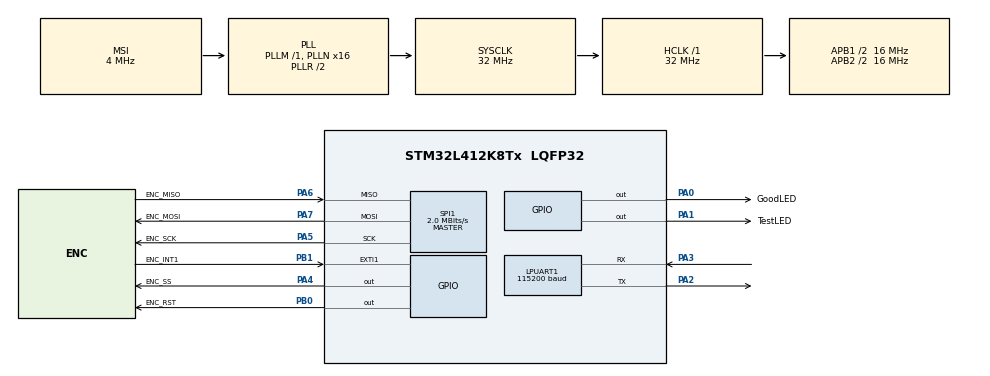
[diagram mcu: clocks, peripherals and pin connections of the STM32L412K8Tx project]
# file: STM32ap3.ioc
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LPUART1.BaudRate=115200
LPUART1.WordLength=UART_WORDLENGTH_8B
Mcu.Family=STM32L4
Mcu.Name=STM32L412K8Tx
Mcu.Package=LQFP32
NVIC.EXTI1_IRQn=true\:4\:0\:true\:false\:true\:true\:true
NVIC.LPUART1_IRQn=true\:13\:0\:true\:false\:true\:true\:true
NVIC.PriorityGroup=NVIC_PRIORITYGROUP_4
NVIC.TIM2_IRQn=true\:0\:0\:true\:false\:true\:true\:true
NVIC.TIM6_IRQn=true\:0\:0\:true\:false\:true\:true\:true
PA0-CK_IN.GPIO_Label=GoodLED
PA0-CK_IN.GPIO_Speed=GPIO_SPEED_FREQ_MEDIUM
PA0-CK_IN.Signal=GPIO_Output
PA1.GPIO_Label=TestLED
PA1.GPIO_Speed=GPIO_SPEED_FREQ_MEDIUM
PA1.Signal=GPIO_Output
PA13\ (JTMS/SWDIO).Mode=Serial_Wire
PA13\ (JTMS/SWDIO).Signal=SYS_JTMS-SWDIO
PA14\ (JTCK/SWCLK).Mode=Serial_Wire
PA14\ (JTCK/SWCLK).Signal=SYS_JTCK-SWCLK
PA2.Mode=Asynchronous
PA2.Signal=LPUART1_TX
PA3.Mode=Asynchronous
PA3.Signal=LPUART1_RX
PA4.GPIO_Label=ENC_SS
PA4.GPIO_Speed=GPIO_SPEED_FREQ_MEDIUM
PA4.Signal=GPIO_Output
PA5.GPIO_Label=ENC_SCK
PA5.Mode=Full_Duplex_Master
PA5.Signal=SPI1_SCK
PA6.GPIO_Label=ENC_MISO
PA6.Mode=Full_Duplex_Master
PA6.Signal=SPI1_MISO
PA7.GPIO_Label=ENC_MOSI
PA7.Mode=Full_Duplex_Master
PA7.Signal=SPI1_MOSI
PB0.GPIO_Label=ENC_RST
PB0.GPIO_PuPd=GPIO_PULLUP
PB0.GPIO_Speed=GPIO_SPEED_FREQ_MEDIUM
PB0.Signal=GPIO_Output
PB1.GPIO_Label=ENC_INT1
PB1.Signal=GPXTI1
ProjectManager.HeapSize=0x200
ProjectManager.StackSize=0x400
ProjectManager.TargetToolchain=Makefile
RCC.ADCFreq_Value=32000000
RCC.AHBFreq_Value=32000000
RCC.APB1CLKDivider=RCC_HCLK_DIV2
RCC.APB1Freq_Value=16000000
RCC.APB1TimFreq_Value=32000000
RCC.APB2CLKDivider=RCC_HCLK_DIV2
RCC.APB2Freq_Value=16000000
RCC.APB2TimFreq_Value=32000000
RCC.CortexFreq_Value=32000000
RCC.HCLKFreq_Value=32000000
RCC.HSE_VALUE=8000000
RCC.HSI48_VALUE=48000000
RCC.HSI_VALUE=16000000
RCC.LSE_VALUE=32768
RCC.MSI_VALUE=4000000
RCC.PLLN=16
RCC.SYSCLKFreq_VALUE=32000000
RCC.SYSCLKSource=RCC_SYSCLKSOURCE_PLLCLK
RCC.USBFreq_Value=4000000
RCC.VCOOutputFreq_Value=64000000
SPI1.BaudRatePrescaler=SPI_BAUDRATEPRESCALER_8
SPI1.CalculateBaudRate=2.0 MBits/s
SPI1.DataSize=SPI_DATASIZE_8BIT
SPI1.Direction=SPI_DIRECTION_2LINES
SPI1.Mode=SPI_MODE_MASTER
SPI1.NSSPMode=SPI_NSS_PULSE_DISABLE
SPI1.VirtualType=VM_MASTER
TIM2.ClockDivision=TIM_CLOCKDIVISION_DIV4
TIM2.Period=1000-1
TIM2.Prescaler=8000-1
TIM6.Period=100-1
TIM6.Prescaler=320-1
VP_TIM2_VS_ClockSourceINT.Mode=Internal
VP_TIM6_VS_ClockSourceINT.Mode=Enable_Timer
board=custom

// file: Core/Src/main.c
/* USER CODE BEGIN Header */
/**
  ******************************************************************************
  * @file           : main.c
  * @brief          : Main program body
  ******************************************************************************
  * @attention
  *
  * <h2><center>&copy; Copyright (c) 2021 STMicroelectronics.
  * All rights reserved.</center></h2>
  *
  * This software component is licensed by ST under BSD 3-Clause license,
  * the "License"; You may not use this file except in compliance with the
  * License. You may obtain a copy of the License at:
  *                        opensource.org/licenses/BSD-3-Clause
  *
  ******************************************************************************
  */
/* USER CODE END Header */
#include "main.h"

#include "Internet.h"

UART_HandleTypeDef hlpuart1;

SPI_HandleTypeDef hspi1;

TIM_HandleTypeDef htim2;
TIM_HandleTypeDef htim6;

void SystemClock_Config(void);
static void MX_GPIO_Init(void);
static void MX_LPUART1_UART_Init(void);
static void MX_SPI1_Init(void);
static void MX_TIM2_Init(void);
static void MX_TIM6_Init(void);
/* USER CODE BEGIN PFP */
void EC_Init();
/* USER CODE END PFP */

/* USER CODE BEGIN 0 */

int mode = 0;
uint32_t iter_per_us = 0;
void up_udelay(uint32_t us)
{
    up_delayTick(us*iter_per_us);
}
void up_100ndelay(uint32_t us)
{
    up_delayTick(us*iter_per_us/10);
}
void up_delayTick(uint32_t tick)
{
    volatile uint32_t i;

    for (i=0; i<tick; i++) {
    }
}
static void calibrate(void)
{
    uint32_t time;
    volatile uint32_t i;

    iter_per_us = 1000000;

    time = HAL_GetTick();
    /* Wait for next tick */
    while (HAL_GetTick() == time) {
        /* wait */
    }
    for (i=0; i<iter_per_us; i++) {
    }
    iter_per_us /= ((HAL_GetTick()-time)*1000);
}

DWORD eth_dhcp_1sec_renewal_timer;
DWORD eth_dhcp_1sec_lease_timer;
WORD eth_dhcp_1ms_timer;
DWORD ethernet_10ms_clock_timer;
DWORD ethernet_10ms_clock_timer_working;
DWORD tcp_client_socket_timeout_timer;
BOOL isOnline = FALSE;

BYTE eth_dhcp_using_manual_settings;
BYTE *eth_dhcp_our_name_pointer;

int count10 = 0;

void HAL_TIM_PeriodElapsedCallback(TIM_HandleTypeDef *htim)
{
  if(htim->Instance == TIM6) //1kHz Timer
  {
		//printf("2(%d,%d)\n",eth_dhcp_1ms_timer,ethernet_10ms_clock_timer_working);
    //----- NIC DHCP TIMER -----
    if (eth_dhcp_1ms_timer)
      eth_dhcp_1ms_timer--;

    //-----------------------------
    //----- HERE EVERY 10 mSec -----
    //-----------------------------

    //----- ETHERNET GENERAL TIMER -----
    count10++;
    if(count10==10)
    {
		  //printf("6(%d)\n",ethernet_10ms_clock_timer_working);
      ethernet_10ms_clock_timer_working++;
      count10=0;
    }

  }
  if (htim->Instance == TIM2) // 1Hz Timer
  {
		//printf("2(%d,%d)\n",eth_dhcp_1sec_renewal_timer,eth_dhcp_1sec_lease_timer);
    //-------------------------------
    //----- HERE EVERY 1 Second -----
    //-------------------------------

    //----- NIC DHCP TIMERS -----
    if (eth_dhcp_1sec_renewal_timer)
      eth_dhcp_1sec_renewal_timer--;
    if (eth_dhcp_1sec_lease_timer)
      eth_dhcp_1sec_lease_timer--;
    if(tcp_client_socket_timeout_timer)
      tcp_client_socket_timeout_timer--;

    checkConnectivity(TRUE);

  }
}

int _write(int file, char* p, int len)
{
    HAL_UART_Transmit(&hlpuart1,(uint8_t*)p,len,1000);
    return len;
}
void yield()
{
  tcp_ip_process_stack();
  HAL_Delay(1);
}
BYTE UDP_Open(IP_ADDR AddrToOpen,WORD port_local,WORD port_remote);
int UDP_Send(DEVICE_INFO *device_info);
int UDP_WaitReq(BYTE Socket,int timeout);
int UDP_SendData(BYTE Socket,uint8_t* data,int length);

BYTE TCP_Disconnect(BYTE Socket, int timeout);
BYTE TCP_Get_Data(BYTE Socket,uint8_t* data,int buflen);
BYTE TCP_Get_RemainingDataSize(BYTE Socket);
//ret 0:succeed 1:timeout 2:disconnected 3:retries expired
BYTE TCP_Get_Wait(BYTE Socket,int timeout);
BYTE TCP_SendByte(BYTE Socket, uint8_t* data, int len);
BYTE TCP_Connect(IP_ADDR ip,int port,int timeout);

IP_ADDR IPSet(uint8_t d1,uint8_t d2,uint8_t d3,uint8_t d4);
MAC_ADDR MACSet(uint8_t d1,uint8_t d2,uint8_t d3,uint8_t d4,uint8_t d5,uint8_t d6);

//if error, it returns 0.0.0.0
IP_ADDR DNS_Get(char* domain, int timeout);
void checkConnectivity(BOOL print);

BYTE SendARP(IP_ADDR ip);
//mode 0 : Waiting
//mode 10 : Request HTTP Client (Echo)
//mode 11 : waiting for HTTP Get Request
//mode 12 : Processing of HTTP Get Protocol
/* USER CODE END 0 */

int main(void)
{

  /* MCU Configuration--------------------------------------------------------*/

  /* Reset of all peripherals, Initializes the Flash interface and the Systick. */
  HAL_Init();

  /* Configure the system clock */
  SystemClock_Config();

  /* USER CODE BEGIN SysInit */
  calibrate();
  /* USER CODE END SysInit */

  /* Initialize all configured peripherals */
  MX_GPIO_Init();
  MX_LPUART1_UART_Init();
  MX_SPI1_Init();
  MX_TIM2_Init();
  MX_TIM6_Init();
  /* USER CODE BEGIN 2 */
  setvbuf(stdout,NULL,_IONBF,0);
  HAL_TIM_Base_Start_IT(&htim6);
  HAL_TIM_Base_Start_IT(&htim2);
  printf("start..\n");

  EC_Init();

  printf("connecting line...\n");

  uint32_t start = HAL_GetTick();
  while((HAL_GetTick()-start < 1000) && !(nic_is_linked && nic_linked_and_ip_address_valid))
    tcp_ip_process_stack();

  checkConnectivity(TRUE);

  // static BYTE our_tcp_client_socket = TCP_INVALID_SOCKET;
	// static WORD our_tcp_client_local_port;
	// static DEVICE_INFO remote_device_info;
	// static BYTE eth_http_client_10ms_clock_timer_last;
	// static DWORD http_client_content_length;
	// static DWORD http_client_content_received;
	// static BYTE header_started;
	// static BYTE header_ended;
	// static BYTE data_buffer[4];
	// static BYTE content_length_match_char;

  enum {
    SM_OPEN_SOCKET = 0,
    SM_WAIT_FOR_CONNECTION,
    SM_TX_PACKET,
    SM_WAIT_FOR_RESPONSE,
    SM_REQUEST_DISCONNECT,
    SM_WAIT_FOR_DISCONNECT,
    SM_COMMS_COMPLETE,
    SM_COMMS_FAILED
  };

  static BYTE our_tcp_client_socket = TCP_INVALID_SOCKET;
  static WORD our_tcp_client_local_port;
  static BYTE our_tcp_client_state = SM_OPEN_SOCKET;
  static DEVICE_INFO remote_device_info;
  BYTE data;
  BYTE array_buffer[4];

  printf("TCP start!");
  if (!nic_linked_and_ip_address_valid)
  {
    //----- WE ARE NOT CONNECTED OR DO NOT YET HAVE AN IP ADDRESS -----
    our_tcp_client_state = SM_OPEN_SOCKET;
    //Ensure our socket is closed if we have just lost the Ethernet connection
    tcp_close_socket(our_tcp_client_socket);
    printf("TCP: ethernet error!\n");
    return; //Exit as we can't do anything without a connection
  }
  if (our_tcp_client_socket != TCP_INVALID_SOCKET)
  {
    //----- CHECK OUR CLIENT SOCKET HASN'T DISCONNECTED -----
    if ((tcp_socket[our_tcp_client_socket].sm_socket_state == SM_TCP_CLOSED)
    || (tcp_socket[our_tcp_client_socket].local_port != our_tcp_client_local_port))
      //If the local port has changed then our socket was closed and taken by some other application process since we we're last called
      our_tcp_client_socket = TCP_INVALID_SOCKET;
    if (our_tcp_client_state == SM_WAIT_FOR_DISCONNECT)
      our_tcp_client_state = SM_OPEN_SOCKET;
    else if (our_tcp_client_state != SM_OPEN_SOCKET)
      our_tcp_client_state = SM_COMMS_FAILED;
  }

  /* USER CODE END 2 */

  /* Infinite loop */
  /* USER CODE BEGIN WHILE */
  while (1)
  {
    switch (our_tcp_client_state)
    {
    case SM_OPEN_SOCKET:
      printf("TCP: SOCKET Open\n");
      //----- OPEN SOCKET -----
      remote_device_info.ip_address = DNS_Get("www.eduwon.net",2000);
      // remote_device_info.ip_address.v[0] = 192;		//The IP address of the remote device we want to connect to (change as required)
      // remote_device_info.ip_address.v[1] = 168;
      // remote_device_info.ip_address.v[2] = 0;
      // remote_device_info.ip_address.v[3] = 20;
      remote_device_info.mac_address.v[0] = 0;			//Set to zero so TCP driver will automatically use ARP to find MAC address
      remote_device_info.mac_address.v[1] = 0;
      remote_device_info.mac_address.v[2] = 0;
      remote_device_info.mac_address.v[3] = 0;
      remote_device_info.mac_address.v[4] = 0;
      remote_device_info.mac_address.v[5] = 0;

      if (our_tcp_client_socket != TCP_INVALID_SOCKET)			//We shouldn't have a socket currently, but make sure
        tcp_close_socket(our_tcp_client_socket);

      our_tcp_client_socket = tcp_connect_socket(&remote_device_info, 8807);		//Connect to remote device port 4102 (the port it is listening on - change as required)
      if (our_tcp_client_socket != TCP_INVALID_SOCKET)
      {
        our_tcp_client_local_port = tcp_socket[our_tcp_client_socket].local_port;

        tcp_client_socket_timeout_timer = 20;			//Set our wait for connection timeout
        our_tcp_client_state = SM_WAIT_FOR_CONNECTION;
        printf("TCP: Trying to connect to 192.168.0.20...\n");
        break;
      }
      //Could not open a socket - none currently available - keep trying

      break;

    case SM_WAIT_FOR_CONNECTION:
      //----- WAIT FOR SOCKET TO CONNECT -----
      if (tcp_is_socket_connected(our_tcp_client_socket)){
        printf("TCP: Connected!\n");
        our_tcp_client_state = SM_TX_PACKET;
      }

      if (tcp_client_socket_timeout_timer == 0)
      {
        printf("TCP: Connecting timeout.\n");
        //CONNECTION REQUEST FAILED
        our_tcp_client_state = SM_COMMS_FAILED;
      }

      break;

    case SM_TX_PACKET:
      //----- TX PACKET TO REMOTE DEVICE -----
      if (!tcp_setup_socket_tx(our_tcp_client_socket))
      {
        printf("TCP: we can't send TX packet.\n");
        //Can't tx right now - try again next time
        break;
      }

      //WRITE THE TCP DATA
      // tcp_write_next_byte('H');
      // tcp_write_next_byte('e');
      // tcp_write_next_byte('l');
      // tcp_write_next_byte('l');
      // tcp_write_next_byte('o');
      // tcp_write_next_byte(' ');
      // tcp_write_next_byte('W');
      // tcp_write_next_byte('o');
      // tcp_write_next_byte('r');
      // tcp_write_next_byte('l');
      // tcp_write_next_byte('d');
      // tcp_write_next_byte(0x00);

      tcp_write_array("GET /api/att/echo_8754 HTTP/1.1\r\n",33);
      tcp_write_array("Host: www.eduwon.net\r\n",22);
      tcp_write_array("Connection : close\r\n",20);
      tcp_write_array("\r\n",2);
      //You can also use tcp_write_array()

      //SEND THE PACKET
      tcp_socket_tx_packet(our_tcp_client_socket);

      tcp_client_socket_timeout_timer = 10;			//Set our wait for response timeout
      our_tcp_client_state = SM_WAIT_FOR_RESPONSE;
      break;

    case SM_WAIT_FOR_RESPONSE:
      //----- WAIT FOR RESPONSE -----

      if (tcp_client_socket_timeout_timer == 0)
      {
        printf("TCP: TX Timeout.\n");
        //WAIT FOR RESPOSNE TIMEOUT
        tcp_close_socket(our_tcp_client_socket);
        our_tcp_client_state = SM_COMMS_FAILED;
      }

      if (tcp_check_socket_for_rx(our_tcp_client_socket))
      {
        printf("TCP: data came!\n");
        printf("TCP: data :");
        //SOCKET HAS RECEIVED A PACKET - PROCESS IT

        printf("len:%d\n",TCP_Get_RemainingDataSize(our_tcp_client_socket));
        while(tcp_read_next_rx_byte(&data) == 1)
        {
          //yield();
          printf("%c",data);
        }
        printf("\nTCP: data ended!\n");
        // //READ THE PACKET AS REQURIED
        // if (tcp_read_next_rx_byte(&data) == 0)
        // {
        //   //Error - no more bytes in rx packet
        //   printf("\nTCP: data ended!\n");
        // }

        //DUMP THE PACKET
        tcp_dump_rx_packet();

        our_tcp_client_state = SM_REQUEST_DISCONNECT;
      }

      if (tcp_does_socket_require_resend_of_last_packet(our_tcp_client_socket))
      {
        printf("TCP: re-sending Packet.\n");
        //RE-SEND LAST PACKET TRANSMITTED
        //(TCP requires resending of packets if they are not acknowledged and to
        //avoid requiring a large RAM buffer the application needs to remember
        //the last packet sent on a socket so it can be resent if requried).
        our_tcp_client_state = SM_TX_PACKET;
      }

      if(!tcp_is_socket_connected(our_tcp_client_socket))
      {
        printf("TCP: Host Disconnected.\n");
        //THE CLIENT HAS DISCONNECTED
        our_tcp_client_state = SM_COMMS_FAILED;
      }

      break;

    case SM_REQUEST_DISCONNECT:
      //----- REQUEST TO DISCONNECT FROM REMOTE SERVER -----
      tcp_request_disconnect_socket (our_tcp_client_socket);

      tcp_client_socket_timeout_timer = 10;			//Set our wait for disconnect timeout
      our_tcp_client_state = SM_WAIT_FOR_DISCONNECT;
      break;

    case SM_WAIT_FOR_DISCONNECT:
      //----- WAIT FOR SOCKET TO BE DISCONNECTED -----

      if (tcp_is_socket_closed(our_tcp_client_socket))
      {
        printf("TCP: Communication Succeed!.\n");
        our_tcp_client_state = SM_COMMS_COMPLETE;
      }

      if (tcp_client_socket_timeout_timer == 0)
      {
        //WAIT FOR DISCONNECT TIMEOUT
        tcp_close_socket(our_tcp_client_socket);	//Force the socket closed at our end
        our_tcp_client_state = SM_COMMS_FAILED;
      }
      break;

    case SM_COMMS_COMPLETE:

      //----- COMMUNICATIONS COMPLETE -----

      break;

    case SM_COMMS_FAILED:
      //----- COMMUNICATIONS FAILED -----

      break;

    }

    //HAL_Delay(1000);
    /*
    //MAC를 차단하는 것 같다.(Broadcast 많이 이용 시.)
    IP_ADDR iptoarp = IPSet(192,168,0,1);
    MAC_ADDR macfromArp = MACSet(0,0,0,0,0,0);
    printf("arp sending.. %d.%d.%d.%d\n",iptoarp.v[0],iptoarp.v[1],iptoarp.v[2],iptoarp.v[3]);
    if(arp_resolve_ip_address(&iptoarp))
    {
      uint32_t start = HAL_GetTick();
      while(HAL_GetTick()-start < 3000)
      {
        tcp_ip_process_stack();
        if(arp_is_resolve_complete(&iptoarp,&macfromArp))break;
      }
      printf("received : %02X:%02X:%02X:%02X:%02X:%02X\n"
        ,macfromArp.v[0],macfromArp.v[1],macfromArp.v[2],macfromArp.v[3],macfromArp.v[4],macfromArp.v[5]);
    }
    */

    //HAL_Delay(500);

    /*
    if(mode == 0)
    {
      //mode = 10;

      mode = 88;//start tcp
      //mode = 89;//start udp
      //mode = 90;//start dns
      //mode = 91;//start httpGET

      // IP_ADDR site_addr;
      // printf("DNS Testing\n");
      // site_addr = DNS_Get("eduwon.net",4000);
      // printf("eduwon.net -> %d.%d.%d.%d\n",site_addr.v[0],site_addr.v[1],site_addr.v[2],site_addr.v[3]);
      // site_addr = DNS_Get("eduwon.nea",4000);
      // printf("eduwon.nea -> %d.%d.%d.%d\n\n",site_addr.v[0],site_addr.v[1],site_addr.v[2],site_addr.v[3]);
    }
    else if(mode == 88)
    {
      mode = 1;
      static BYTE our_tcp_socket = UDP_INVALID_SOCKET;
      IP_ADDR addr = IPSet(192,168,0,20);
      printf("\n\nTCP Start!!");
      our_tcp_socket = TCP_Connect(addr,505,10000);
      if (our_tcp_socket == UDP_INVALID_SOCKET)
      {
        printf("TCP Connection failed!\n");
        continue;
      }
      printf("TCP Connection succeed!\n");

      if (!TCP_SendByte(our_tcp_socket,"Hi!\n",4))
      {
        //Can't tx right now - try again next Time
        TCP_Disconnect(our_tcp_socket,1000);
        printf("TCP setup tx Socket failed!\n");
        continue;
      }
      printf("TCP Sending succeed!\n");

      int res;
      if(res = TCP_Get_Wait(our_tcp_socket,30000) == 0)//if data avaliable
      {
        int len = TCP_Get_RemainingDataSize(our_tcp_socket);
        uint8_t* data = malloc(len+1);
        data[len] = 0;
        TCP_Get_Data(our_tcp_socket,data,len);
        printf("TCP Receiving Succeed! len:%d, %s\n",len,data);
      }else{
        printf("TCP Error %d\n",res);
        TCP_Disconnect(our_tcp_socket,1000);

        continue;
      }
      printf("TCP Receiving succeed!\n");

      if(TCP_Disconnect(our_tcp_socket,5000))
      {
        printf("TCP Disconnecting Succeed!\n");
      }else{
        printf("TCP Disconnecting timeout.\n");
        continue;
      }

      printf("TCP Succeed!\n");
    }
    else if(mode == 89)
    {

      static BYTE our_udp_socket = UDP_INVALID_SOCKET;
      IP_ADDR addr;
      addr.v[0] = 192;
      addr.v[1] = 168;
      addr.v[2] = 0;
      addr.v[3] = 20;
      our_udp_socket = UDP_Open(addr,6450,6450);
      if (our_udp_socket == UDP_INVALID_SOCKET)
      {
        printf("UDP Invaild Socket!\n");
        continue;
      }

      if (!UDP_SendData(our_udp_socket,"Hi!",4))
      {
        //Can't tx right now - try again next Time
        printf("UDP setup tx Socket failed!\n");
        continue;
      }

      printf("UDP Request: %d\n",UDP_WaitReq(our_udp_socket,2000));

      printf("UDP Sending Succeed!\n");
      udp_close_socket(&our_udp_socket);
      continue;
    }
    else if(mode == 90)
    {
      IP_ADDR site_addr;
      char* siteDomain = "www.eduwon.sm";

      if(!do_dns_query(siteDomain,QNS_QUERY_TYPE_HOST))
      {
        extern BYTE dns_state;
        printf("dns failed. %d\n",dns_state);
        continue;
      }

      printf("DNS looking up start!\n");
      uint32_t start = HAL_GetTick();
      while(HAL_GetTick()-start < 4000)
      {
        yield();
        site_addr = check_dns_response();
        if(site_addr.Val == 0x00000000);//waiting
        else if(site_addr.Val == 0xFFFFFFFF)
        {
          printf("dns failed 1.\n");
          break;
        }
        else
        {
          printf("DNS Succeed!\n");
          printf("Resloved : %d.%d.%d.%d\n",site_addr.v[0],site_addr.v[1],site_addr.v[2],site_addr.v[3]);
          break;
        }
      }

      if(site_addr.Val == 0xFFFFFFFF)
      continue;

      // IP_ADDR iptoarp = site_addr;
      // MAC_ADDR macfromArp = MACSet(0,0,0,0,0,0);
      // printf("arp sending.. %d.%d.%d.%d\n",iptoarp.v[0],iptoarp.v[1],iptoarp.v[2],iptoarp.v[3]);
      // if(arp_resolve_ip_address(&iptoarp))
      // {
      //   uint32_t start = HAL_GetTick();
      //   while(HAL_GetTick()-start < 3000)
      //   {
      //     yield();
      //     if(arp_is_resolve_complete(&iptoarp,&macfromArp))break;
      //   }
      //   printf("received : %02X:%02X:%02X:%02X:%02X:%02X\n"
      //     ,macfromArp.v[0],macfromArp.v[1],macfromArp.v[2],macfromArp.v[3],macfromArp.v[4],macfromArp.v[5]);
      // }

    }
    else if(mode == 91)
    {
      mode = 1;
      //prepare for HTTP Get Sending
      char* host = "www.eduwon.net";
      int port = 8807;
      char* page = "/api/att/echo_8754";
      IP_ADDR host_addr;
      BYTE socket;

      host_addr = DNS_Get(host,4000);
      #define INVALID_DNS 0
      if(host_addr.Val == INVALID_DNS)//if rtn is 0.0.0.0(if error)
      {
        printf("DNS resolving error.\n");
        continue;
      }
      printf("\n\n");
      printf("%s's addr = %d.%d.%d.%d\n",host,host_addr.v[0],host_addr.v[1],host_addr.v[2],host_addr.v[3]);

      Addstr_Str SendMessage;
      Addstr_init(&SendMessage);

      // GET /api/att/echo_8754 HTTP/1.1
      // Host: www.eduwon.net
      // Connection : close
      //

      Addstr_add(&SendMessage,"GET ");
      Addstr_add(&SendMessage,page);
      Addstr_add(&SendMessage," HTTP/1.1\r\n");
      Addstr_add(&SendMessage,"Host: ");
      Addstr_add(&SendMessage,host);
      Addstr_add(&SendMessage,"\r\n");
      Addstr_add(&SendMessage,"Connection: close\r\n");
      Addstr_add(&SendMessage,"\r\n");
      char* sendMessage = Addstr_return(&SendMessage);

      //printf("sending Str : \n\n%s\n\n",sendMessage);

      socket = TCP_Connect(host_addr,port,10000);
      if(socket == TCP_INVALID_SOCKET)
      {
        printf("TCP INVALID_SOCKET.\n");
        continue;
      }
      if(socket == 0)
      {
        printf("TCP opening error.\n");
        continue;
      }
      printf("TCP Connected!\n");

      int sendlength = TCP_SendByte(socket,sendMessage,strlen(sendMessage));
      //printf("sendlength : %d\n",sendlength);

      uint32_t start = HAL_GetTick();
      do//while(HAL_GetTick()-start < 5000)
      {
        int res = TCP_Get_Wait(socket,5000);

        if(res == 1)
        {
          printf("TCP reply timeout error.\n");
          break;
        }
        else if(res == 2)
        {
          printf("TCP disconnected.\n");
          break;
        }
        else if(res == 3)
        {
          printf("TCP retries expired.\n");
          break;
        }

        int datalen = TCP_Get_RemainingDataSize(socket);
        char* received = malloc(datalen+1);
        printf("data received. len:%d\n",datalen);

        if(!received)
        {
          printf("malloc error.\n");
          break;
        }
        received[datalen] = 0;
        if(!TCP_Get_Data(socket,received,datalen))
        {
          printf("data read error.\n");
          break;
        }
        printf("data successfully get!\n\n");
        printf("%s\n",received);

        TCP_Disconnect(socket,1000);

        free(received);
      }while(0);
      Addstr_destroy(&SendMessage);
    }
    else if(mode == 92)
    {

    }
    */
    /*else if(mode == 10)
    {
      printf("Connect to www.eduwon.net 123\n");

      char domain[26] = "www.eduwon.net";
      if(!do_dns_query(domain, QNS_QUERY_TYPE_HOST))
      {
        printf("DNS Failed.\n");
        mode = 1;
      }
      mode = 11;
      // if(start_http_client_request("www.eduwon.net","123"))
      // {
      //   mode == 11;
      // }else
      // {
      //   printf("Request Failed!\n");
      //   HAL_Delay(500);
      // }
    }else if(mode == 11)
    {
      remote_device_info.ip_address = check_dns_response();
      if (remote_device_info.ip_address.Val == 0xffffffff)
      {
        //DNS QUERY FAILED
        printf("Request Failed!\n");
        HAL_Delay(500);
        mode = 10;
      }
      else if (remote_device_info.ip_address.Val)
      {
        printf("DNS Succeed!\n");
        mode = 12;
        //DNS QUERY SUCESSFUL
      }
      else
      {
        //DNS NOT YET COMPLETE
      }
    }else if(mode == 12)
    {
      printf("Connect to %08X..\n",remote_device_info.ip_address.Val);
      remote_device_info.mac_address.v[0] = 0;		//Set to zero so TCP will automatically use ARP to find the MAC address
      remote_device_info.mac_address.v[1] = 0;
      remote_device_info.mac_address.v[2] = 0;
      remote_device_info.mac_address.v[3] = 0;
      remote_device_info.mac_address.v[4] = 0;
      remote_device_info.mac_address.v[5] = 0;

      //Connect to remote device port 80
      if (our_tcp_client_socket != TCP_INVALID_SOCKET)		//We shouldn't have a socket currently, but make sure
          tcp_close_socket(our_tcp_client_socket);

      our_tcp_client_socket = tcp_connect_socket(&remote_device_info, 80);
      if (our_tcp_client_socket != TCP_INVALID_SOCKET)
      {
        our_tcp_client_local_port = tcp_socket[our_tcp_client_socket].local_port;
        mode = 13;
      }
      //Could not open a socket - none currently available - keep trying
    }else if(mode == 13)
    {
      //TCP Waiting
      if (tcp_is_socket_connected(our_tcp_client_socket))
        mode = 14;

    }else if(mode == 14)
    {
      tcp_close_socket(our_tcp_client_socket);

      printf("Connect Succeed!\n");
      HAL_Delay(500);
    }*/
    /* USER CODE END WHILE */

    /* USER CODE BEGIN 3 */
    //----- PROCESS ETHERNET STACK -----
    tcp_ip_process_stack();
  }
  /* USER CODE END 3 */
}

void SystemClock_Config(void)
{
  RCC_OscInitTypeDef RCC_OscInitStruct = {0};
  RCC_ClkInitTypeDef RCC_ClkInitStruct = {0};
  RCC_PeriphCLKInitTypeDef PeriphClkInit = {0};

  /** Configure the main internal regulator output voltage
  */
  if (HAL_PWREx_ControlVoltageScaling(PWR_REGULATOR_VOLTAGE_SCALE1) != HAL_OK)
  {
    Error_Handler();
  }
  /** Initializes the RCC Oscillators according to the specified parameters
  * in the RCC_OscInitTypeDef structure.
  */
  RCC_OscInitStruct.OscillatorType = RCC_OSCILLATORTYPE_MSI;
  RCC_OscInitStruct.MSIState = RCC_MSI_ON;
  RCC_OscInitStruct.MSICalibrationValue = 0;
  RCC_OscInitStruct.MSIClockRange = RCC_MSIRANGE_6;
  RCC_OscInitStruct.PLL.PLLState = RCC_PLL_ON;
  RCC_OscInitStruct.PLL.PLLSource = RCC_PLLSOURCE_MSI;
  RCC_OscInitStruct.PLL.PLLM = 1;
  RCC_OscInitStruct.PLL.PLLN = 16;
  RCC_OscInitStruct.PLL.PLLQ = RCC_PLLQ_DIV2;
  RCC_OscInitStruct.PLL.PLLR = RCC_PLLR_DIV2;
  if (HAL_RCC_OscConfig(&RCC_OscInitStruct) != HAL_OK)
  {
    Error_Handler();
  }
  /** Initializes the CPU, AHB and APB buses clocks
  */
  RCC_ClkInitStruct.ClockType = RCC_CLOCKTYPE_HCLK|RCC_CLOCKTYPE_SYSCLK
                              |RCC_CLOCKTYPE_PCLK1|RCC_CLOCKTYPE_PCLK2;
  RCC_ClkInitStruct.SYSCLKSource = RCC_SYSCLKSOURCE_PLLCLK;
  RCC_ClkInitStruct.AHBCLKDivider = RCC_SYSCLK_DIV1;
  RCC_ClkInitStruct.APB1CLKDivider = RCC_HCLK_DIV2;
  RCC_ClkInitStruct.APB2CLKDivider = RCC_HCLK_DIV2;

  if (HAL_RCC_ClockConfig(&RCC_ClkInitStruct, FLASH_LATENCY_1) != HAL_OK)
  {
    Error_Handler();
  }
  PeriphClkInit.PeriphClockSelection = RCC_PERIPHCLK_LPUART1;
  PeriphClkInit.Lpuart1ClockSelection = RCC_LPUART1CLKSOURCE_PCLK1;
  if (HAL_RCCEx_PeriphCLKConfig(&PeriphClkInit) != HAL_OK)
  {
    Error_Handler();
  }
}

static void MX_LPUART1_UART_Init(void)
{

  hlpuart1.Instance = LPUART1;
  hlpuart1.Init.BaudRate = 115200;
  hlpuart1.Init.WordLength = UART_WORDLENGTH_8B;
  hlpuart1.Init.StopBits = UART_STOPBITS_1;
  hlpuart1.Init.Parity = UART_PARITY_NONE;
  hlpuart1.Init.Mode = UART_MODE_TX_RX;
  hlpuart1.Init.HwFlowCtl = UART_HWCONTROL_NONE;
  hlpuart1.Init.OneBitSampling = UART_ONE_BIT_SAMPLE_DISABLE;
  hlpuart1.AdvancedInit.AdvFeatureInit = UART_ADVFEATURE_NO_INIT;
  if (HAL_UART_Init(&hlpuart1) != HAL_OK)
  {
    Error_Handler();
  }

}

static void MX_SPI1_Init(void)
{

  /* SPI1 parameter configuration*/
  hspi1.Instance = SPI1;
  hspi1.Init.Mode = SPI_MODE_MASTER;
  hspi1.Init.Direction = SPI_DIRECTION_2LINES;
  hspi1.Init.DataSize = SPI_DATASIZE_8BIT;
  hspi1.Init.CLKPolarity = SPI_POLARITY_LOW;
  hspi1.Init.CLKPhase = SPI_PHASE_1EDGE;
  hspi1.Init.NSS = SPI_NSS_SOFT;
  hspi1.Init.BaudRatePrescaler = SPI_BAUDRATEPRESCALER_8;
  hspi1.Init.FirstBit = SPI_FIRSTBIT_MSB;
  hspi1.Init.TIMode = SPI_TIMODE_DISABLE;
  hspi1.Init.CRCCalculation = SPI_CRCCALCULATION_DISABLE;
  hspi1.Init.CRCPolynomial = 7;
  hspi1.Init.CRCLength = SPI_CRC_LENGTH_DATASIZE;
  hspi1.Init.NSSPMode = SPI_NSS_PULSE_DISABLE;
  if (HAL_SPI_Init(&hspi1) != HAL_OK)
  {
    Error_Handler();
  }

}

static void MX_TIM2_Init(void)
{

  TIM_ClockConfigTypeDef sClockSourceConfig = {0};
  TIM_MasterConfigTypeDef sMasterConfig = {0};

  htim2.Instance = TIM2;
  htim2.Init.Prescaler = 8000-1;
  htim2.Init.CounterMode = TIM_COUNTERMODE_UP;
  htim2.Init.Period = 1000-1;
  htim2.Init.ClockDivision = TIM_CLOCKDIVISION_DIV4;
  htim2.Init.AutoReloadPreload = TIM_AUTORELOAD_PRELOAD_DISABLE;
  if (HAL_TIM_Base_Init(&htim2) != HAL_OK)
  {
    Error_Handler();
  }
  sClockSourceConfig.ClockSource = TIM_CLOCKSOURCE_INTERNAL;
  if (HAL_TIM_ConfigClockSource(&htim2, &sClockSourceConfig) != HAL_OK)
  {
    Error_Handler();
  }
  sMasterConfig.MasterOutputTrigger = TIM_TRGO_RESET;
  sMasterConfig.MasterSlaveMode = TIM_MASTERSLAVEMODE_DISABLE;
  if (HAL_TIMEx_MasterConfigSynchronization(&htim2, &sMasterConfig) != HAL_OK)
  {
    Error_Handler();
  }

}

static void MX_TIM6_Init(void)
{

  TIM_MasterConfigTypeDef sMasterConfig = {0};

  htim6.Instance = TIM6;
  htim6.Init.Prescaler = 320-1;
  htim6.Init.CounterMode = TIM_COUNTERMODE_UP;
  htim6.Init.Period = 100-1;
  htim6.Init.AutoReloadPreload = TIM_AUTORELOAD_PRELOAD_DISABLE;
  if (HAL_TIM_Base_Init(&htim6) != HAL_OK)
  {
    Error_Handler();
  }
  sMasterConfig.MasterOutputTrigger = TIM_TRGO_RESET;
  sMasterConfig.MasterSlaveMode = TIM_MASTERSLAVEMODE_DISABLE;
  if (HAL_TIMEx_MasterConfigSynchronization(&htim6, &sMasterConfig) != HAL_OK)
  {
    Error_Handler();
  }
  /* USER CODE BEGIN TIM6_Init 2 */
  //출처: https://rodneyhuh.tistory.com/22 [Rodney's Blog]
  /* USER CODE END TIM6_Init 2 */

}

static void MX_GPIO_Init(void)
{
  GPIO_InitTypeDef GPIO_InitStruct = {0};

  /* GPIO Ports Clock Enable */
  __HAL_RCC_GPIOA_CLK_ENABLE();
  __HAL_RCC_GPIOB_CLK_ENABLE();

  /*Configure GPIO pin Output Level */
  HAL_GPIO_WritePin(GPIOA, GoodLED_Pin|TestLED_Pin|ENC_SS_Pin, GPIO_PIN_RESET);

  /*Configure GPIO pin Output Level */
  HAL_GPIO_WritePin(ENC_RST_GPIO_Port, ENC_RST_Pin, GPIO_PIN_RESET);

  /*Configure GPIO pins : GoodLED_Pin TestLED_Pin ENC_SS_Pin */
  GPIO_InitStruct.Pin = GoodLED_Pin|TestLED_Pin|ENC_SS_Pin;
  GPIO_InitStruct.Mode = GPIO_MODE_OUTPUT_PP;
  GPIO_InitStruct.Pull = GPIO_NOPULL;
  GPIO_InitStruct.Speed = GPIO_SPEED_FREQ_MEDIUM;
  HAL_GPIO_Init(GPIOA, &GPIO_InitStruct);

  /*Configure GPIO pin : ENC_RST_Pin */
  GPIO_InitStruct.Pin = ENC_RST_Pin;
  GPIO_InitStruct.Mode = GPIO_MODE_OUTPUT_PP;
  GPIO_InitStruct.Pull = GPIO_PULLUP;
  GPIO_InitStruct.Speed = GPIO_SPEED_FREQ_MEDIUM;
  HAL_GPIO_Init(ENC_RST_GPIO_Port, &GPIO_InitStruct);

  /*Configure GPIO pin : ENC_INT1_Pin */
  GPIO_InitStruct.Pin = ENC_INT1_Pin;
  GPIO_InitStruct.Mode = GPIO_MODE_IT_RISING;
  GPIO_InitStruct.Pull = GPIO_NOPULL;
  HAL_GPIO_Init(ENC_INT1_GPIO_Port, &GPIO_InitStruct);

  /* EXTI interrupt init*/
  HAL_NVIC_SetPriority(EXTI1_IRQn, 4, 0);
  HAL_NVIC_EnableIRQ(EXTI1_IRQn);

}

/* USER CODE BEGIN 4 */
BYTE UDP_Open(IP_ADDR AddrToOpen,WORD port_local,WORD port_remote)
{
  DEVICE_INFO remote_device_info;
  BYTE our_udp_socket = UDP_INVALID_SOCKET;
  if (!nic_linked_and_ip_address_valid)
  {
    return UDP_INVALID_SOCKET; //Exit as we can't do anything without a connection
  }
  //Set to broadcast on our subnet (alternatively set the IP and MAC address
  //to a remote devices address - use ARP first if the MAC address is unknown)
  remote_device_info.ip_address = AddrToOpen;
  // remote_device_info.mac_address.v[0] = 0xff;
  // remote_device_info.mac_address.v[1] = 0xff;
  // remote_device_info.mac_address.v[2] = 0xff;
  // remote_device_info.mac_address.v[3] = 0xff;
  // remote_device_info.mac_address.v[4] = 0xff;
  // remote_device_info.mac_address.v[5] = 0xff;
  //Set the port numbers as desired
  return udp_open_socket(&remote_device_info, port_local,port_remote);
}
int UDP_SendData(BYTE Socket,uint8_t* data,int length)
{
  //----- TX PACKET TO REMOTE DEVICE -----
  //SETUP TX
  if (!udp_setup_tx(Socket))
  {
    return 0;
  }
  //WRITE THE TCP DATA
  udp_write_array(data,length);
  //You can also use udp_write_array()
  //SEND THE PACKET
  udp_tx_packet();
  return 1;
}
int UDP_WaitReq(BYTE Socket,int timeout)
{
  uint8_t data;
  int len = 0;
  uint32_t start = HAL_GetTick();
  while(HAL_GetTick()-start < timeout)
  {
    HAL_Delay(10);

    if (udp_check_socket_for_rx(Socket))
    {
      //SOCKET HAS RECEIVED A PACKET - PROCESS IT
      //READ THE PACKET AS REQURIED
      if (!udp_read_next_rx_byte(&data))
      {
        udp_close_socket(&Socket);
        //Error - no more bytes in rx packet
        printf("Error - no more bytes in rx packet\n");
        return 0;
      }

      //DUMP THE PACKET
      udp_dump_rx_packet();
      break;
    }
    yield();
  }
  return udp_socket[Socket].rx_data_bytes_remaining;
}

BYTE TCP_Connect(IP_ADDR ip,int port,int timeout)
{
  BYTE Socket;
  if (!nic_linked_and_ip_address_valid)
    return TCP_INVALID_SOCKET;

  DEVICE_INFO remote_device_info;
  remote_device_info.ip_address = ip;
  remote_device_info.mac_address = MACSet(0,0,0,0,0,0);
  //Set to zero so TCP will automatically use ARP to find MAC address

  //SM_OPEN_SOCKET
  Socket = tcp_connect_socket(&remote_device_info,port);

  if(Socket == TCP_INVALID_SOCKET)
  {
    printf("TCP Could not open the socket.\n");
    //Could not open the socket.
    return 0;
  }
  port = tcp_socket[Socket].local_port;

  //Set our wait for connection timeout
  uint32_t start = HAL_GetTick();
  while(HAL_GetTick() - start < timeout)
  {
    yield();
    //----- WAIT FOR SOCKET TO CONNECT -----
    if (tcp_is_socket_connected(Socket))
      break;
  }
  printf("TCP Connection time : %dms\n",HAL_GetTick() - start);
  if(!(HAL_GetTick() - start < timeout))
    return 0;//Timeout.
  else return 1;//Opened the socket.
}
BYTE TCP_SendByte(BYTE Socket, uint8_t* data, int len)
{
  if (!tcp_setup_socket_tx(Socket))
  {
    printf("TCP Cannot setup TX socket.\n");
    return 0;//Cannot setup TX socket.
  }

  if(tcp_write_array(data,len) == 0)
    return 0;//byte could not be written.(MAX_PACKET_SIZE reached.)

  tcp_socket_tx_packet(Socket);
  return len;
}
BYTE TCP_Get_Wait(BYTE Socket,int timeout)
{
  printf("TCP Waiting.. timeout:%dms\n",timeout);
  uint32_t start = HAL_GetTick();
  while(HAL_GetTick() - start < timeout)
  {
    yield();
    if (tcp_check_socket_for_rx(Socket))
    {
      printf("RECEIVED! : %dms\n",HAL_GetTick() - start);
      return 0;//INTERRUPT!
    }
    if (tcp_does_socket_require_resend_of_last_packet(Socket))
    {
      printf("RE-SEND LAST PACKET TRANSMITTED : %dms\n",HAL_GetTick() - start);
      //RE-SEND LAST PACKET TRANSMITTED
      //(TCP requires resending of packets if they are not acknowledged and to
      //avoid requiring a large RAM buffer the application needs to remember
      //the last packet sent on a socket so it can be resent if requried).
      //return to SEND Section.
      return 3;//RETRIES_EXPIRED
    }
    if(!tcp_is_socket_connected(Socket))
    {
      printf("THE CLIENT HAS DISCONNECTED : %dms\n",HAL_GetTick() - start);
      return 2;//THE CLIENT HAS DISCONNECTED
    }
  }
  return 1;//TIMEOUT

}
BYTE TCP_Get_RemainingDataSize(BYTE Socket)
{
  return tcp_socket[Socket].rx_data_bytes_remaining;
}
BYTE TCP_Get_Data(BYTE Socket,uint8_t* data,int buflen)
{
  if (tcp_check_socket_for_rx(Socket))
    return tcp_read_rx_array(data,buflen);
  else
    return 0;
}

BYTE TCP_Disconnect(BYTE Socket, int timeout)
{
  tcp_request_disconnect_socket (Socket);

  uint32_t start = HAL_GetTick();
  while(HAL_GetTick() - start < timeout)
  {
    yield();
    if (tcp_is_socket_closed(Socket))
      break;//Successfully closed.
  }

  if(!(HAL_GetTick() - start < timeout))
  {
    tcp_close_socket(Socket);
    return 0;//TIMEOUT
  }
  else return 1;//Successfully closed.
}

IP_ADDR DNS_Get(char* domain, int timeout)
{
  IP_ADDR ReturnErrorIP = IPSet(0,0,0,0);
  IP_ADDR WaitingIP = IPSet(0,0,0,0);
  IP_ADDR ErrorIP = IPSet(255,255,255,255);
  IP_ADDR domain_addr;

  if(!do_dns_query(domain,QNS_QUERY_TYPE_HOST))
  {
    return ReturnErrorIP;
  }

  //printf("DNS looking up start!\n");
  uint32_t start = HAL_GetTick();
  while(HAL_GetTick()-start < timeout)
  {
    yield();
    domain_addr = check_dns_response();
        if(memcmp(&domain_addr,&WaitingIP,IP_ADDR_LENGTH) == 0);//waiting
    else if(memcmp(&domain_addr,&ErrorIP,IP_ADDR_LENGTH) == 0)
    {
      //printf("dns failed 1.\n");
      return ReturnErrorIP;
    }
    else
    {
      //printf("DNS Succeed!\n");
      //printf("Resloved : %d.%d.%d.%d\n",site_addr.v[0],site_addr.v[1],site_addr.v[2],site_addr.v[3]);
      return domain_addr;
    }
  }
  return ReturnErrorIP;//timeout
}

BYTE SendARP(IP_ADDR ip)
{
  return arp_resolve_ip_address(&ip);
}
IP_ADDR IPSet(uint8_t d1,uint8_t d2,uint8_t d3,uint8_t d4)
{
  IP_ADDR ip;
  ip.v[0] = d1; ip.v[1] = d2;
  ip.v[2] = d3; ip.v[3] = d4;
  return ip;
}
MAC_ADDR MACSet(uint8_t d1,uint8_t d2,uint8_t d3,uint8_t d4,uint8_t d5,uint8_t d6)
{
  MAC_ADDR mac;
  mac.v[0] = d1; mac.v[1] = d2; mac.v[2] = d3;
  mac.v[3] = d4; mac.v[4] = d5; mac.v[5] = d6;
  return mac;
}

void LED_SetOnlineStatus(BOOL isOnline)
{
  HAL_GPIO_WritePin(GPIOA,GoodLED_Pin,isOnline);
  HAL_GPIO_WritePin(GPIOA,TestLED_Pin,!isOnline);
}
void checkConnectivity(BOOL print)
{
  static int connected;
  if(nic_is_linked && nic_linked_and_ip_address_valid) {
    if(!connected && print)
    {
      printf("IP  : %d.%d.%d.%d\n",our_ip_address.v[0]         ,our_ip_address.v[1]         ,our_ip_address.v[2]         ,our_ip_address.v[3]         );
      printf("GW  : %d.%d.%d.%d\n",our_gateway_ip_address.v[0] ,our_gateway_ip_address.v[1] ,our_gateway_ip_address.v[2] ,our_gateway_ip_address.v[3] );
      printf("Msk : %d.%d.%d.%d\n",our_subnet_mask.v[0]        ,our_subnet_mask.v[1]        ,our_subnet_mask.v[2]        ,our_subnet_mask.v[3]        );
      printf("MAC : %02X:%02X:%02X:%02X:%02X:%02X\n"
        ,our_mac_address.v[0],our_mac_address.v[1],our_mac_address.v[2],our_mac_address.v[3],our_mac_address.v[4],our_mac_address.v[5]);

      IP_ADDR host_addr;
      if(print)printf("trying to get IP of www.google.com\n");
      if((host_addr = DNS_Get("www.google.com",4000)).Val == 0)//if rtn is 0.0.0.0
      {
        if(print)printf("Internet not working..");
        isOnline = 0;
        LED_SetOnlineStatus(FALSE);
      }
      else
      {
        isOnline = 1;
        LED_SetOnlineStatus(TRUE);
        if(print)printf("This device is ONLINE!\n");

        mode = 0;
      }
    }
    connected = 1;
  }
  else {
    if(connected && print)
    {
      if(nic_is_linked && !nic_linked_and_ip_address_valid)
        printf("IP Address is not valid. Please reset the program.\n");
      else if(!nic_is_linked)
        printf("NIC is not linked. Please reset the program.\n");
    }
    connected = 0;
    LED_SetOnlineStatus(FALSE);
  }
}
//*************************************************
//*************************************************
//********** PROCESS HTTP CLIENT REQUEST **********
//*************************************************
//*************************************************
void process_http_client_request (BYTE op_code, DWORD content_length, BYTE
*requested_host_url, BYTE *requested_filename)
{
  static DWORD byte_id;
  BYTE data;
  if (op_code == 0)
  {
    printf("REQUEST FAILED\n");
    //--------------------------
    //----- REQUEST FAILED -----
    //--------------------------
    return;
  }
  else if (op_code == 0xff)
  {
    printf("REMOTE SERVER HAS CLOSED CONNECTION\n");
    //-----------------------------------------------
    //----- REMOTE SERVER HAS CLOSED CONNECTION -----
    //-----------------------------------------------
    //(This will mark the end of the file if content-length was not provided by the server)
    return;
  }
  else if (op_code == 1)
  {
    printf("%d,%02X\n",op_code,content_length);
    //-------------------------------------
    //----- FIRST PACKET OF FILE DATA -----
    //-------------------------------------
    //Ethernet TCP/IP Source Code Driver Project 37 of 78
    byte_id = 0;
  }
  //-------------------------
  //----- READ THE DATA -----
  //-------------------------
  while (tcp_read_next_rx_byte(&data))
  {
    printf("%d,%02X\n",op_code,content_length);
    //----- GOT NEXT BYTE -----
    //data has the next byte
    byte_id++;
    if (byte_id >= content_length)
    {
      //----- WE HAVE READ ALL OF THE FILE DATA -----
      if(mode==11)mode = 12;
    }
  }
}

#define USE_DHCP 1
void EC_Init()
{
  #if !USE_DHCP
  //----- CONFIGURE ETHERNET -----
  eth_dhcp_using_manual_settings = 1;
  our_ip_address.v[0] = 192; //MSB
  our_ip_address.v[1] = 168;
  our_ip_address.v[2] = 0;
  our_ip_address.v[3] = 28; //LSB
  our_subnet_mask.v[0] = 255; //MSB
  our_subnet_mask.v[1] = 255;
  our_subnet_mask.v[2] = 255;
  our_subnet_mask.v[3] = 0; //LSB
  our_gateway_ip_address.v[0] = 192;
  our_gateway_ip_address.v[1] = 168;
  our_gateway_ip_address.v[2] = 0;
  our_gateway_ip_address.v[3] = 1;
  #else
  eth_dhcp_using_manual_settings = 0;
  eth_dhcp_our_name_pointer = "AJUAttender";
  #endif

  //----- SET OUR ETHENET UNIQUE MAC ADDRESS -----
  our_mac_address.v[0] = 0x16; //MSB
  our_mac_address.v[1] = 0x07;
  our_mac_address.v[2] = 0x47;
  our_mac_address.v[3] = 0x88;
  our_mac_address.v[4] = 0x68;
  our_mac_address.v[5] = 0x98; //LSB
  //----- INITIALISE ETHERNET -----
  tcp_ip_initialise();
}
/* USER CODE END 4 */

void Error_Handler(void)
{
  __disable_irq();
  while (1)
  {
  }
}

/************************ (C) COPYRIGHT STMicroelectronics *****END OF FILE****/
